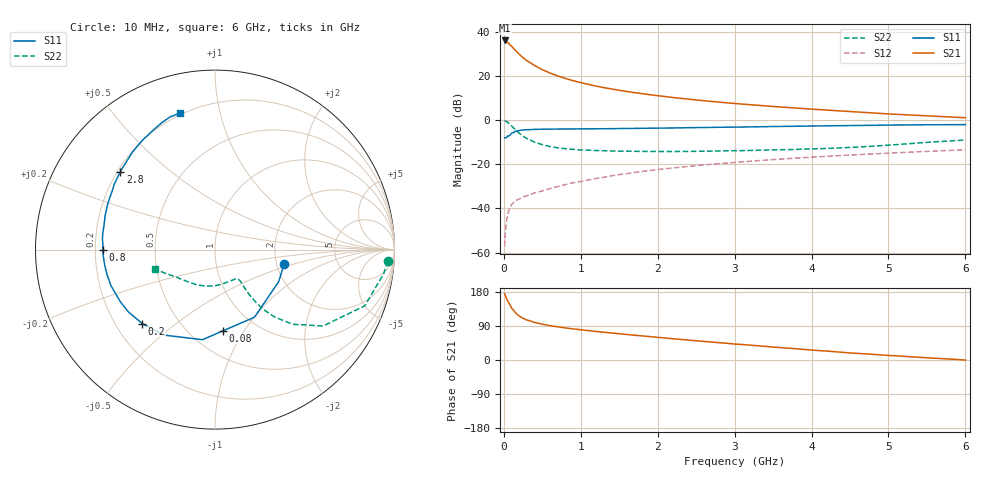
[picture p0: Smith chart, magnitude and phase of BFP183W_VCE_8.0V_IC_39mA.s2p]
! Infineon Technologies  Discrete & RF Semiconductors
! BFP183W
! VCE =  8.0 V,  IC =  39 mA
! Common Emitter S-Parameters:  Jan 2017
# GHz  S  MA  R  50
!  f  S11  S21  S12  S22
! GHz  MAG  ANG  MAG  ANG  MAG  ANG  MAG  ANG
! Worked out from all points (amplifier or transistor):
!   77 points, 10 MHz to 6 GHz, reference 50 ohm
!   highest |S21| = 36.0 dB at 10 MHz (marker M1)
!   |S21| within 3 dB of that: start of sweep to 111 MHz
!   unconditionally stable (mu >= 1): 881.8 MHz to 3.359 GHz
!   at 130 MHz: K = 0.33, MSG = 34.7 dB, |S12| = -37.1 dB
!   at 2.2 GHz: K = 1.06, MAG = 14.4 dB, |S12| = -21.7 dB
!   at 6 GHz: K = 0.86, MSG = 7.2 dB, |S12| = -13.5 dB
!   S11 on the Smith chart (normalised r, x): 10 MHz: 2.20, -0.42; 80 MHz: 0.71, -0.81; 200 MHz: 0.31, -0.38; 800 MHz: 0.23, -0.00; 2.8 GHz: 0.21, +0.34; 6 GHz: 0.19, +0.76
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0.01  0.3939 -11.8  62.82 174.9  0.0014 98.4  0.9651 -3.8
0.02  0.3973 -26.9  61.62 169.4  0.0028 88.6  0.9487 -8.3
0.05  0.4362 -59.7  57.05 155.5  0.0074 67.3  0.8913 -20.6
0.08  0.4542 -84.2  50.15 145.3  0.0103 63.0  0.7925 -28.7
0.1  0.5068 -97.9  46.64 137.0  0.0122 61.3  0.7374 -35.3
0.15  0.5541 -120.7  37.49 124.7  0.015 53.6  0.5994 -43.9
0.2  0.578 -134.5  30.6 116.1  0.0163 51.0  0.5017 -48.5
0.25  0.5946 -144.3  25.62 110.0  0.0182 50.9  0.4301 -51.0
0.3  0.6023 -151.3  21.89 105.5  0.0192 51.0  0.3795 -52.1
0.4  0.6138 -161.0  16.94 99.0  0.0224 52.8  0.3141 -52.7
0.5  0.6176 -167.3  13.7 94.4  0.0249 54.9  0.2759 -52.4
0.6  0.6208 -172.3  11.53 90.6  0.0282 56.2  0.2513 -51.9
0.7  0.623 -176.1  9.913 87.6  0.0312 59.1  0.2347 -51.4
0.8  0.6257 -179.7  8.71 84.6  0.0345 60.5  0.2245 -51.3
1.1  0.6314 172.2  6.365 77.6  0.0442 63.5  0.2073 -52.5
1.5  0.6398 163.4  4.682 69.3  0.0581 63.9  0.1972 -57.1
2.1  0.6562 152.0  3.378 58.0  0.0789 63.2  0.1936 -68.9
2.8  0.6834 140.6  2.528 45.6  0.1031 60.2  0.1994 -87.2
3.1  0.6927 136.1  2.287 40.8  0.1131 58.4  0.203 -95.2
4.1  0.7336 122.5  1.717 24.9  0.1475 52.4  0.2243 -121.9
5.1  0.7685 112.1  1.344 10.9  0.181 46.1  0.2771 -148.1
6  0.7847 104.4  1.124 -0.1  0.2124 39.8  0.352 -162.1
